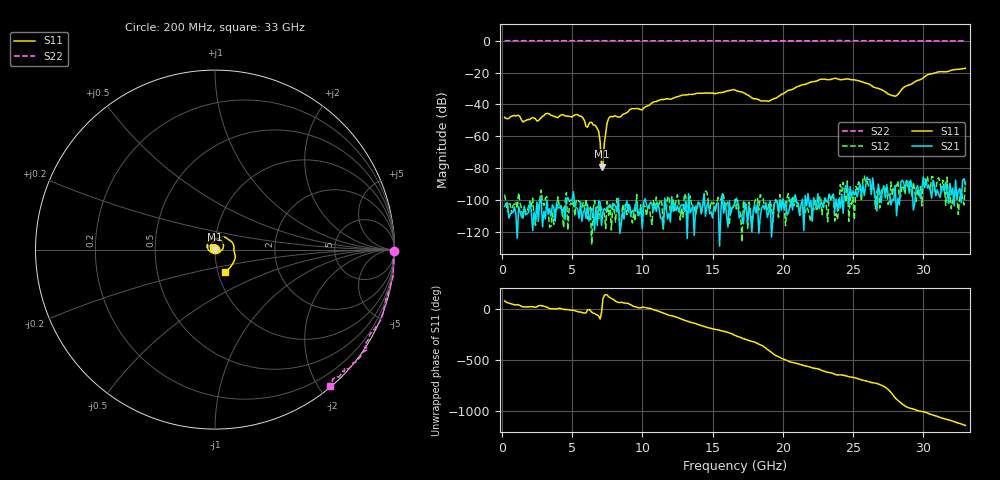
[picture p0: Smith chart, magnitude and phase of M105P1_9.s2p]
# GHZ S RI R 50
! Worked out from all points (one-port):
!   329 points, 200 MHz to 33 GHz, reference 50 ohm
!   lowest |S11| = -78.9 dB at 7.1 GHz (marker M1), VSWR 1.00, Z = 50 - j0.00629 ohm
!   |S11| at or under -10 dB: start of sweep to end of sweep
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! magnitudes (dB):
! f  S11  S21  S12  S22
! 200 MHz  -48.1  -103.9  -96.5  0.0
! 1.2 GHz  -46.8  -104.1  -95.5  0.0
! 1.5 GHz  -51.0  -111.0  -111.6  0.0
! 3.2 GHz  -45.7  -99.9  -97.8  0.0
! 5.7 GHz  -47.6  -113.2  -104.4  0.0
! 6 GHz  -53.9  -111.4  -99.3  0.0
! 6.4 GHz  -51.2  -105.2  -127.9  0.0
! 6.9 GHz  -56.9  -100.5  -111.5  0.0
! 7 GHz  -63.5  -101.2  -102.5  0.0
! 7.1 GHz  -78.9  -115.9  -106.0  0.0
! 7.2 GHz  -77.4  -107.1  -105.9  0.0
! 7.3 GHz  -64.2  -105.3  -108.7  0.0
! 7.5 GHz  -51.5  -104.5  -100.9  0.0
! 7.7 GHz  -47.7  -103.0  -102.9  0.0
! 11.2 GHz  -37.3  -105.3  -102.0  -0.1
! 16.6 GHz  -31.0  -101.8  -99.6  0.0
! 19 GHz  -38.0  -107.7  -102.6  -0.1
! 22.1 GHz  -25.8  -113.2  -106.3  -0.1
! 25.1 GHz  -24.5  -96.6  -112.3  0.0
! 27.6 GHz  -33.8  -97.1  -100.6  0.0
! 30.3 GHz  -21.4  -92.4  -85.0  -0.1
! 33 GHz  -17.3  -90.3  -88.2  0.0
